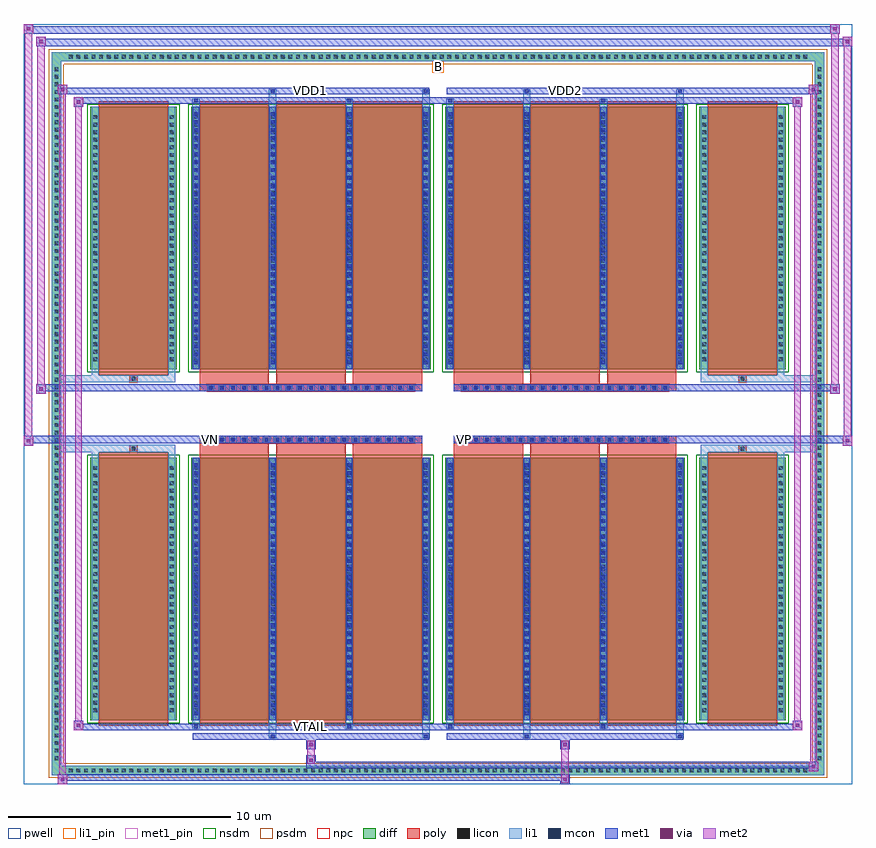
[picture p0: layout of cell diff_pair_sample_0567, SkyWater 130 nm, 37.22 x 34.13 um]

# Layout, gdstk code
import gdstk
lib = gdstk.Library(unit=1e-6, precision=5e-09)
def R(c, l, rs):  # rectangles x0, y0, x1, y1
    for r in rs: c.add(gdstk.rectangle(r[:2], r[2:], *l))
def A(c, l, x, y, w, h, nx, ny, dx, dy):  # array of equal rectangles
    R(c, l, [(x+i*dx, y+j*dy, x+i*dx+w, y+j*dy+h) for i in range(nx) for j in range(ny)])
def P(c, l, *ps):  # polygons
    for p in ps: c.add(gdstk.Polygon(p, *l))
pwell = (64, 44)
diff = (65, 20)
poly = (66, 20)
licon = (66, 44)
li1_pin = (67, 16)
li1 = (67, 20)
mcon = (67, 44)
met1_pin = (68, 16)
met1 = (68, 20)
via = (68, 44)
met2 = (69, 20)
nsdm = (93, 44)
psdm = (94, 20)
npc = (95, 20)

diff_pair_sample_0567 = lib.new_cell('diff_pair_sample_0567')
R(diff_pair_sample_0567, pwell, [(-18.61,-16.63,18.61,17.5), (-15.93,-14.82,-0.01,-0.8), (0.01,-14.82,15.93,-0.8), (-15.93,0.8,-0.01,14.82), (0.01,0.8,15.93,14.82)])
A(diff_pair_sample_0567, diff, -16.695, -16.23, 0.41, 0.41, 98, 2, 0.34, 32.05)
A(diff_pair_sample_0567, diff, -17.34, -15.675, 0.41, 0.41, 1, 92, 0, 0.34)
A(diff_pair_sample_0567, diff, 16.93, -15.675, 0.41, 0.41, 1, 92, 0, 0.34)
R(diff_pair_sample_0567, diff, [(-16.695,-16.23,16.695,-15.82), (-17.34,-15.675,-16.93,15.675), (16.93,-15.675,17.34,15.675), (-15.62,-13.775,-11.73,-1.985), (-11.09,-13.775,-0.32,-1.985), (0.32,-13.775,11.09,-1.985), (11.73,-13.775,15.62,-1.985), (-15.62,1.985,-11.73,13.775), (-11.09,1.985,-0.32,13.775), (0.32,1.985,11.09,13.775), (11.73,1.985,15.62,13.775), (-16.695,15.82,16.695,16.23)])
P(diff_pair_sample_0567, diff, [(17.34,16.23),(-17.34,16.23),(-17.34,-15.82),(-16.93,-15.82),(-16.93,15.82),(16.93,15.82),(16.93,-15.82),(-16.93,-15.82),(-17.34,-15.82),(-17.34,-16.23),(17.34,-16.23)])
A(diff_pair_sample_0567, poly, -10.7, -14.025, 3.11, 12.29, 3, 2, 3.44, 15.76)
A(diff_pair_sample_0567, poly, 0.71, -14.025, 3.11, 12.29, 3, 2, 3.44, 15.76)
A(diff_pair_sample_0567, poly, -10.7, -1.735, 3.11, 0.405, 3, 2, 3.44, 3.065)
A(diff_pair_sample_0567, poly, 0.71, -1.735, 3.11, 0.405, 3, 2, 3.44, 3.065)
A(diff_pair_sample_0567, poly, -10.37, -1.33, 0.33, 0.33, 19, 2, 0.5, 2.33)
A(diff_pair_sample_0567, poly, 1.04, -1.33, 0.33, 0.33, 19, 2, 0.5, 2.33)
R(diff_pair_sample_0567, poly, [(-15.23,-14.025,-12.12,-1.735), (12.12,-14.025,15.23,-1.735), (-13.84,-1.735,-13.51,-1.405), (-13.84,-1.735,-13.51,-1.405), (13.51,-1.735,13.84,-1.405), (13.51,-1.735,13.84,-1.405), (-10.7,-1.33,-0.71,-1), (0.71,-1.33,10.7,-1), (-10.7,1,-0.71,1.33), (0.71,1,10.7,1.33), (-13.84,1.405,-13.51,1.735), (-13.84,1.405,-13.51,1.735), (13.51,1.405,13.84,1.735), (13.51,1.405,13.84,1.735), (-15.23,1.735,-12.12,14.025), (12.12,1.735,15.23,14.025)])
A(diff_pair_sample_0567, licon, -16.575, -16.11, 0.17, 0.17, 98, 2, 0.34, 32.05)
A(diff_pair_sample_0567, licon, -17.22, -15.555, 0.17, 0.17, 1, 92, 0, 0.34)
A(diff_pair_sample_0567, licon, 17.05, -15.555, 0.17, 0.17, 1, 92, 0, 0.34)
A(diff_pair_sample_0567, licon, -15.48, -13.405, 0.17, 0.17, 1, 33, 0, 0.34)
A(diff_pair_sample_0567, licon, -12.04, -13.405, 0.17, 0.17, 1, 33, 0, 0.34)
A(diff_pair_sample_0567, licon, -10.95, -13.405, 0.17, 0.17, 4, 33, 3.44, 0.34)
A(diff_pair_sample_0567, licon, 0.46, -13.405, 0.17, 0.17, 4, 33, 3.44, 0.34)
A(diff_pair_sample_0567, licon, 11.87, -13.405, 0.17, 0.17, 1, 33, 0, 0.34)
A(diff_pair_sample_0567, licon, 15.31, -13.405, 0.17, 0.17, 1, 33, 0, 0.34)
A(diff_pair_sample_0567, licon, -10.29, -1.25, 0.17, 0.17, 19, 2, 0.5, 2.33)
A(diff_pair_sample_0567, licon, 1.12, -1.25, 0.17, 0.17, 19, 2, 0.5, 2.33)
A(diff_pair_sample_0567, licon, -15.48, 2.355, 0.17, 0.17, 1, 33, 0, 0.34)
A(diff_pair_sample_0567, licon, -12.04, 2.355, 0.17, 0.17, 1, 33, 0, 0.34)
A(diff_pair_sample_0567, licon, -10.95, 2.355, 0.17, 0.17, 4, 33, 3.44, 0.34)
A(diff_pair_sample_0567, licon, 0.46, 2.355, 0.17, 0.17, 4, 33, 3.44, 0.34)
A(diff_pair_sample_0567, licon, 11.87, 2.355, 0.17, 0.17, 1, 33, 0, 0.34)
A(diff_pair_sample_0567, licon, 15.31, 2.355, 0.17, 0.17, 1, 33, 0, 0.34)
R(diff_pair_sample_0567, licon, [(-13.76,-1.655,-13.59,-1.485), (13.59,-1.655,13.76,-1.485), (-13.76,1.485,-13.59,1.655), (13.59,1.485,13.76,1.655)])
R(diff_pair_sample_0567, li1_pin, [(-0.25,15.32,0.25,15.82)])
A(diff_pair_sample_0567, li1, -16.655, -16.19, 0.33, 0.33, 98, 2, 0.34, 32.05)
A(diff_pair_sample_0567, li1, -17.3, -15.635, 0.33, 0.33, 1, 92, 0, 0.34)
A(diff_pair_sample_0567, li1, 16.97, -15.635, 0.33, 0.33, 1, 92, 0, 0.34)
A(diff_pair_sample_0567, li1, -11.03, -13.775, 0.33, 11.79, 4, 2, 3.44, 15.76)
A(diff_pair_sample_0567, li1, 0.38, -13.775, 0.33, 11.79, 4, 2, 3.44, 15.76)
A(diff_pair_sample_0567, li1, -10.95, -13.545, 0.17, 0.17, 4, 32, 3.44, 0.36)
A(diff_pair_sample_0567, li1, -10.95, -13.545, 0.17, 11.33, 4, 2, 3.44, 15.76)
A(diff_pair_sample_0567, li1, 0.46, -13.545, 0.17, 0.17, 4, 32, 3.44, 0.36)
A(diff_pair_sample_0567, li1, 0.46, -13.545, 0.17, 11.33, 4, 2, 3.44, 15.76)
A(diff_pair_sample_0567, li1, -15.56, -13.485, 0.33, 0.33, 1, 33, 0, 0.34)
A(diff_pair_sample_0567, li1, -12.12, -13.485, 0.33, 0.33, 1, 33, 0, 0.34)
A(diff_pair_sample_0567, li1, -11.03, -13.485, 0.33, 0.33, 4, 33, 3.44, 0.34)
A(diff_pair_sample_0567, li1, 0.38, -13.485, 0.33, 0.33, 4, 33, 3.44, 0.34)
A(diff_pair_sample_0567, li1, 11.79, -13.485, 0.33, 0.33, 1, 33, 0, 0.34)
A(diff_pair_sample_0567, li1, 15.23, -13.485, 0.33, 0.33, 1, 33, 0, 0.34)
A(diff_pair_sample_0567, li1, -10.37, -1.33, 0.33, 0.33, 19, 2, 0.5, 2.33)
A(diff_pair_sample_0567, li1, 1.04, -1.33, 0.33, 0.33, 19, 2, 0.5, 2.33)
A(diff_pair_sample_0567, li1, -10.95, 2.215, 0.17, 0.17, 4, 32, 3.44, 0.36)
A(diff_pair_sample_0567, li1, 0.46, 2.215, 0.17, 0.17, 4, 32, 3.44, 0.36)
A(diff_pair_sample_0567, li1, -15.56, 2.275, 0.33, 0.33, 1, 33, 0, 0.34)
A(diff_pair_sample_0567, li1, -12.12, 2.275, 0.33, 0.33, 1, 33, 0, 0.34)
A(diff_pair_sample_0567, li1, -11.03, 2.275, 0.33, 0.33, 4, 33, 3.44, 0.34)
A(diff_pair_sample_0567, li1, 0.38, 2.275, 0.33, 0.33, 4, 33, 3.44, 0.34)
A(diff_pair_sample_0567, li1, 11.79, 2.275, 0.33, 0.33, 1, 33, 0, 0.34)
A(diff_pair_sample_0567, li1, 15.23, 2.275, 0.33, 0.33, 1, 33, 0, 0.34)
R(diff_pair_sample_0567, li1, [(-17.34,-16.23,-16.93,-15.82), (-17.34,-16.23,-16.93,-15.82), (-16.93,-16.23,16.93,-15.82), (16.93,-16.23,17.34,-15.82), (16.93,-16.23,17.34,-15.82), (-17.34,-15.82,-16.93,15.82), (16.93,-15.82,17.34,15.82), (-7.59,-14.58,-7.26,-13.775), (-7.51,-14.58,-7.34,-14.41), (-0.71,-14.58,-0.38,-13.775), (-0.63,-14.58,-0.46,-14.41), (3.82,-14.58,4.15,-13.775), (3.9,-14.58,4.07,-14.41), (10.7,-14.58,11.03,-13.775), (10.78,-14.58,10.95,-14.41), (-11.03,-14.15,-10.7,-13.775), (-10.95,-14.15,-10.78,-13.98), (-4.15,-14.15,-3.82,-13.775), (-4.07,-14.15,-3.9,-13.98), (0.38,-14.15,0.71,-13.775), (0.46,-14.15,0.63,-13.98), (7.26,-14.15,7.59,-13.775), (7.34,-14.15,7.51,-13.98), (-15.56,-13.775,-15.23,-1.985), (-12.12,-13.775,-11.79,-1.985), (11.79,-13.775,12.12,-1.985), (15.23,-13.775,15.56,-1.985), (-15.56,-1.985,-15.23,-1.405), (-12.12,-1.985,-11.79,-1.405), (11.79,-1.985,12.12,-1.405), (15.23,-1.985,15.56,-1.405), (-17.34,-1.735,-13.84,-1.405), (-15.56,-1.735,-13.84,-1.405), (-13.84,-1.735,-13.51,-1.405), (-13.51,-1.735,-11.79,-1.405), (11.79,-1.735,13.51,-1.405), (13.51,-1.735,13.84,-1.405), (13.51,-1.735,17.34,-1.405), (13.84,-1.735,15.56,-1.405), (-17.34,1.405,-13.84,1.735), (-15.56,1.405,-13.84,1.735), (-15.56,1.405,-15.23,1.985), (-13.84,1.405,-13.51,1.735), (-13.51,1.405,-11.79,1.735), (-12.12,1.405,-11.79,1.985), (11.79,1.405,13.51,1.735), (11.79,1.405,12.12,1.985), (13.51,1.405,13.84,1.735), (13.51,1.405,17.34,1.735), (13.84,1.405,15.56,1.735), (15.23,1.405,15.56,1.985), (-15.56,1.985,-15.23,13.775), (-12.12,1.985,-11.79,13.775), (11.79,1.985,12.12,13.775), (15.23,1.985,15.56,13.775), (-11.03,13.775,-10.7,14.15), (-7.59,13.775,-7.26,14.58), (-4.15,13.775,-3.82,14.15), (-0.71,13.775,-0.38,14.58), (0.38,13.775,0.71,14.15), (3.82,13.775,4.15,14.58), (7.26,13.775,7.59,14.15), (10.7,13.775,11.03,14.58), (-10.95,13.98,-10.78,14.15), (-4.07,13.98,-3.9,14.15), (0.46,13.98,0.63,14.15), (7.34,13.98,7.51,14.15), (-7.51,14.41,-7.34,14.58), (-0.63,14.41,-0.46,14.58), (3.9,14.41,4.07,14.58), (10.78,14.41,10.95,14.58), (-17.34,15.82,-16.93,16.23), (-17.34,15.82,-16.93,16.23), (-16.93,15.82,16.93,16.23), (16.93,15.82,17.34,16.23), (16.93,15.82,17.34,16.23)])
A(diff_pair_sample_0567, mcon, -10.95, -13.545, 0.17, 0.17, 4, 32, 3.44, 0.36)
A(diff_pair_sample_0567, mcon, 0.46, -13.545, 0.17, 0.17, 4, 32, 3.44, 0.36)
A(diff_pair_sample_0567, mcon, -10.29, -1.25, 0.17, 0.17, 19, 2, 0.5, 2.33)
A(diff_pair_sample_0567, mcon, 1.12, -1.25, 0.17, 0.17, 19, 2, 0.5, 2.33)
A(diff_pair_sample_0567, mcon, -10.95, 2.215, 0.17, 0.17, 4, 32, 3.44, 0.36)
A(diff_pair_sample_0567, mcon, 0.46, 2.215, 0.17, 0.17, 4, 32, 3.44, 0.36)
R(diff_pair_sample_0567, mcon, [(-7.51,-14.58,-7.34,-14.41), (-0.63,-14.58,-0.46,-14.41), (3.9,-14.58,4.07,-14.41), (10.78,-14.58,10.95,-14.41), (-10.95,-14.15,-10.78,-13.98), (-4.07,-14.15,-3.9,-13.98), (0.46,-14.15,0.63,-13.98), (7.34,-14.15,7.51,-13.98), (-10.95,13.98,-10.78,14.15), (-4.07,13.98,-3.9,14.15), (0.46,13.98,0.63,14.15), (7.34,13.98,7.51,14.15), (-7.51,14.41,-7.34,14.58), (-0.63,14.41,-0.46,14.58), (3.9,14.41,4.07,14.58), (10.78,14.41,10.95,14.58)])
R(diff_pair_sample_0567, met1_pin, [(-5.84,-14.19,-5.57,-13.92), (-10.34,-1.29,-10.07,-1.02), (1.07,-1.29,1.34,-1.02), (-5.84,14.37,-5.57,14.64), (5.57,14.37,5.84,14.64)])
A(diff_pair_sample_0567, met1, -11.01, -13.775, 0.29, 11.79, 4, 2, 3.44, 15.76)
A(diff_pair_sample_0567, met1, 0.4, -13.775, 0.29, 11.79, 4, 2, 3.44, 15.76)
A(diff_pair_sample_0567, met1, -11.01, -13.605, 0.29, 0.29, 4, 32, 3.44, 0.36)
A(diff_pair_sample_0567, met1, 0.4, -13.605, 0.29, 0.29, 4, 32, 3.44, 0.36)
A(diff_pair_sample_0567, met1, -10.35, -1.31, 0.29, 0.29, 19, 2, 0.5, 2.33)
A(diff_pair_sample_0567, met1, 1.06, -1.31, 0.29, 0.29, 19, 2, 0.5, 2.33)
A(diff_pair_sample_0567, met1, -11.01, 2.155, 0.29, 0.29, 4, 32, 3.44, 0.36)
A(diff_pair_sample_0567, met1, 0.4, 2.155, 0.29, 0.29, 4, 32, 3.44, 0.36)
R(diff_pair_sample_0567, met1, [(-17.07,-16.63,-16.64,-16.2), (5.49,-16.63,5.92,-16.2), (-17.07,-16.49,5.92,-16.2), (16.64,-16.06,17.07,-15.63), (-5.92,-15.92,17.07,-15.63), (-5.92,-15.78,-5.49,-15.35), (-5.92,-15.07,-5.49,-14.64), (5.49,-15.07,5.92,-14.64), (-11.01,-14.64,-0.4,-14.35), (-7.57,-14.64,-7.28,-14.35), (-0.69,-14.64,-0.4,-14.35), (0.4,-14.64,11.01,-14.35), (3.84,-14.64,4.13,-14.35), (10.72,-14.64,11.01,-14.35), (-16.36,-14.21,-15.93,-13.78), (-16.36,-14.21,-11.01,-13.92), (-11.01,-14.21,-10.72,-13.92), (-11.01,-14.21,-0.4,-13.92), (-4.13,-14.21,-3.84,-13.92), (-0.4,-14.21,0.4,-13.92), (0.4,-14.21,0.69,-13.92), (0.4,-14.21,11.01,-13.92), (7.28,-14.21,7.57,-13.92), (11.01,-14.21,16.36,-13.92), (15.93,-14.21,16.36,-13.78), (-18.61,-1.43,-18.18,-1), (18.18,-1.43,18.61,-1), (-18.61,-1.33,-0.71,-1), (-10.7,-1.33,-0.71,-1), (0.71,-1.33,10.7,-1), (0.71,-1.33,18.61,-1), (-18.04,0.9,-17.61,1.33), (17.61,0.9,18.04,1.33), (-18.04,1,-10.7,1.33), (-10.7,1,-0.71,1.33), (0.71,1,10.7,1.33), (10.7,1,18.04,1.33), (-16.36,13.78,-15.93,14.21), (15.93,13.78,16.36,14.21), (-16.36,13.92,-11.01,14.21), (-11.01,13.92,-10.72,14.21), (-11.01,13.92,-0.4,14.21), (-4.13,13.92,-3.84,14.21), (-0.4,13.92,0.4,14.21), (0.4,13.92,0.69,14.21), (0.4,13.92,11.01,14.21), (7.28,13.92,7.57,14.21), (11.01,13.92,16.36,14.21), (-17.07,14.35,-16.64,14.78), (-17.07,14.35,-11.01,14.64), (-11.01,14.35,-0.4,14.64), (-7.57,14.35,-7.28,14.64), (-0.69,14.35,-0.4,14.64), (0.4,14.35,11.01,14.64), (3.84,14.35,4.13,14.64), (10.72,14.35,11.01,14.64), (11.01,14.35,17.07,14.64), (16.64,14.35,17.07,14.78), (-18.04,16.5,-17.61,16.93), (-18.04,16.5,-15.93,16.83), (-15.93,16.5,15.93,16.83), (15.93,16.5,18.61,16.83), (18.18,16.5,18.61,16.93), (-18.61,17.07,-18.18,17.5), (-18.61,17.07,-15.93,17.4), (-15.93,17.07,15.93,17.4), (15.93,17.07,18.04,17.4), (17.61,17.07,18.04,17.5)])
R(diff_pair_sample_0567, via, [(-16.93,-16.49,-16.78,-16.34), (5.63,-16.49,5.78,-16.34), (16.78,-15.92,16.93,-15.77), (-5.78,-15.64,-5.63,-15.49), (-5.78,-14.93,-5.63,-14.78), (5.63,-14.93,5.78,-14.78), (-16.22,-14.07,-16.07,-13.92), (16.07,-14.07,16.22,-13.92), (-18.47,-1.29,-18.32,-1.14), (18.32,-1.29,18.47,-1.14), (-17.9,1.04,-17.75,1.19), (17.75,1.04,17.9,1.19), (-16.22,13.92,-16.07,14.07), (16.07,13.92,16.22,14.07), (-16.93,14.49,-16.78,14.64), (16.78,14.49,16.93,14.64), (-17.9,16.64,-17.75,16.79), (18.32,16.64,18.47,16.79), (-18.47,17.21,-18.32,17.36), (17.75,17.21,17.9,17.36)])
R(diff_pair_sample_0567, met2, [(-17.07,-16.63,-16.64,-16.2), (-17,-16.63,-16.71,14.78), (-16.71,-16.63,-16.64,-16.2), (-17.02,-16.58,-16.69,-16.25), (5.54,-16.58,5.87,-16.25), (5.54,-16.25,5.87,-15.02), (16.64,-16.06,17.07,-15.63), (16.71,-16.06,17,14.78), (17,-16.06,17.07,-15.63), (16.69,-16.01,17.02,-15.68), (-5.87,-15.73,-5.54,-15.4), (-5.87,-15.4,-5.54,-15.02), (-5.87,-15.02,-5.54,-14.69), (5.54,-15.02,5.87,-14.69), (-16.36,-14.21,-15.93,-13.78), (-16.29,-14.21,-16,14.21), (-16,-14.21,-15.93,-13.78), (15.93,-14.21,16.36,-13.78), (16,-14.21,16.29,14.21), (16.29,-14.21,16.36,-13.78), (-16.31,-14.16,-15.98,-13.83), (15.98,-14.16,16.31,-13.83), (-18.61,-1.43,-18.18,-1), (-18.56,-1.43,-18.23,17.5), (-18.23,-1.43,-18.18,-1), (18.18,-1.43,18.61,-1), (18.23,-1.43,18.56,16.93), (18.56,-1.43,18.61,-1), (-18.56,-1.38,-18.23,-1.05), (18.23,-1.38,18.56,-1.05), (-18.04,0.9,-17.61,1.33), (-17.99,0.9,-17.66,16.93), (-17.66,0.9,-17.61,1.33), (17.61,0.9,18.04,1.33), (17.66,0.9,17.99,17.5), (17.99,0.9,18.04,1.33), (-17.99,0.95,-17.66,1.28), (17.66,0.95,17.99,1.28), (-16.36,13.78,-15.93,14.21), (-16,13.78,-15.93,14.21), (15.93,13.78,16.36,14.21), (16.29,13.78,16.36,14.21), (-16.31,13.83,-15.98,14.16), (15.98,13.83,16.31,14.16), (-17.07,14.35,-16.64,14.78), (-16.71,14.35,-16.64,14.78), (16.64,14.35,17.07,14.78), (17,14.35,17.07,14.78), (-17.02,14.4,-16.69,14.73), (16.69,14.4,17.02,14.73), (-18.04,16.5,-17.61,16.93), (-17.66,16.5,-17.61,16.93), (18.18,16.5,18.61,16.93), (18.56,16.5,18.61,16.93), (-17.99,16.55,-17.66,16.88), (18.23,16.55,18.56,16.88), (-18.61,17.07,-18.18,17.5), (-18.23,17.07,-18.18,17.5), (17.61,17.07,18.04,17.5), (17.99,17.07,18.04,17.5), (-18.56,17.12,-18.23,17.45), (17.66,17.12,17.99,17.45)])
R(diff_pair_sample_0567, nsdm, [(-15.75,-13.905,-11.6,-1.855), (-11.22,-13.905,-0.19,-1.855), (0.19,-13.905,11.22,-1.855), (11.6,-13.905,15.75,-1.855), (-15.75,1.855,-11.6,13.905), (-11.22,1.855,-0.19,13.905), (0.19,1.855,11.22,13.905), (11.6,1.855,15.75,13.905)])
P(diff_pair_sample_0567, psdm, [(17.47,16.36),(-17.47,16.36),(-17.47,-15.69),(-16.8,-15.69),(-16.8,15.69),(16.8,15.69),(16.8,-15.69),(-16.8,-15.69),(-17.47,-15.69),(-17.47,-16.36),(17.47,-16.36)])
A(diff_pair_sample_0567, npc, -10.39, -1.35, 0.37, 0.37, 19, 2, 0.5, 2.33)
A(diff_pair_sample_0567, npc, 1.02, -1.35, 0.37, 0.37, 19, 2, 0.5, 2.33)
R(diff_pair_sample_0567, npc, [(-13.86,-1.755,-13.49,-1.385), (13.49,-1.755,13.86,-1.385), (-10.39,-1.35,-9.52,-0.98), (-10.39,-1.35,-9.52,-0.98), (-9.89,-1.35,-9.02,-0.98), (-9.89,-1.35,-9.02,-0.98), (-9.39,-1.35,-8.52,-0.98), (-9.39,-1.35,-8.52,-0.98), (-8.89,-1.35,-8.02,-0.98), (-8.89,-1.35,-8.02,-0.98), (-8.39,-1.35,-7.52,-0.98), (-8.39,-1.35,-7.52,-0.98), (-7.89,-1.35,-7.02,-0.98), (-7.89,-1.35,-7.02,-0.98), (-7.39,-1.35,-6.52,-0.98), (-7.39,-1.35,-6.52,-0.98), (-6.89,-1.35,-6.02,-0.98), (-6.89,-1.35,-6.02,-0.98), (-6.39,-1.35,-5.52,-0.98), (-6.39,-1.35,-5.52,-0.98), (-5.89,-1.35,-5.02,-0.98), (-5.89,-1.35,-5.02,-0.98), (-5.39,-1.35,-4.52,-0.98), (-5.39,-1.35,-4.52,-0.98), (-4.89,-1.35,-4.02,-0.98), (-4.89,-1.35,-4.02,-0.98), (-4.39,-1.35,-3.52,-0.98), (-4.39,-1.35,-3.52,-0.98), (-3.89,-1.35,-3.02,-0.98), (-3.89,-1.35,-3.02,-0.98), (-3.39,-1.35,-2.52,-0.98), (-3.39,-1.35,-2.52,-0.98), (-2.89,-1.35,-2.02,-0.98), (-2.89,-1.35,-2.02,-0.98), (-2.39,-1.35,-1.52,-0.98), (-2.39,-1.35,-1.52,-0.98), (-1.89,-1.35,-1.02,-0.98), (-1.89,-1.35,-1.02,-0.98), (1.02,-1.35,1.89,-0.98), (1.02,-1.35,1.89,-0.98), (1.52,-1.35,2.39,-0.98), (1.52,-1.35,2.39,-0.98), (2.02,-1.35,2.89,-0.98), (2.02,-1.35,2.89,-0.98), (2.52,-1.35,3.39,-0.98), (2.52,-1.35,3.39,-0.98), (3.02,-1.35,3.89,-0.98), (3.02,-1.35,3.89,-0.98), (3.52,-1.35,4.39,-0.98), (3.52,-1.35,4.39,-0.98), (4.02,-1.35,4.89,-0.98), (4.02,-1.35,4.89,-0.98), (4.52,-1.35,5.39,-0.98), (4.52,-1.35,5.39,-0.98), (5.02,-1.35,5.89,-0.98), (5.02,-1.35,5.89,-0.98), (5.52,-1.35,6.39,-0.98), (5.52,-1.35,6.39,-0.98), (6.02,-1.35,6.89,-0.98), (6.02,-1.35,6.89,-0.98), (6.52,-1.35,7.39,-0.98), (6.52,-1.35,7.39,-0.98), (7.02,-1.35,7.89,-0.98), (7.02,-1.35,7.89,-0.98), (7.52,-1.35,8.39,-0.98), (7.52,-1.35,8.39,-0.98), (8.02,-1.35,8.89,-0.98), (8.02,-1.35,8.89,-0.98), (8.52,-1.35,9.39,-0.98), (8.52,-1.35,9.39,-0.98), (9.02,-1.35,9.89,-0.98), (9.02,-1.35,9.89,-0.98), (9.52,-1.35,10.39,-0.98), (9.52,-1.35,10.39,-0.98), (-10.39,0.98,-9.52,1.35), (-10.39,0.98,-9.52,1.35), (-9.89,0.98,-9.02,1.35), (-9.89,0.98,-9.02,1.35), (-9.39,0.98,-8.52,1.35), (-9.39,0.98,-8.52,1.35), (-8.89,0.98,-8.02,1.35), (-8.89,0.98,-8.02,1.35), (-8.39,0.98,-7.52,1.35), (-8.39,0.98,-7.52,1.35), (-7.89,0.98,-7.02,1.35), (-7.89,0.98,-7.02,1.35), (-7.39,0.98,-6.52,1.35), (-7.39,0.98,-6.52,1.35), (-6.89,0.98,-6.02,1.35), (-6.89,0.98,-6.02,1.35), (-6.39,0.98,-5.52,1.35), (-6.39,0.98,-5.52,1.35), (-5.89,0.98,-5.02,1.35), (-5.89,0.98,-5.02,1.35), (-5.39,0.98,-4.52,1.35), (-5.39,0.98,-4.52,1.35), (-4.89,0.98,-4.02,1.35), (-4.89,0.98,-4.02,1.35), (-4.39,0.98,-3.52,1.35), (-4.39,0.98,-3.52,1.35), (-3.89,0.98,-3.02,1.35), (-3.89,0.98,-3.02,1.35), (-3.39,0.98,-2.52,1.35), (-3.39,0.98,-2.52,1.35), (-2.89,0.98,-2.02,1.35), (-2.89,0.98,-2.02,1.35), (-2.39,0.98,-1.52,1.35), (-2.39,0.98,-1.52,1.35), (-1.89,0.98,-1.02,1.35), (-1.89,0.98,-1.02,1.35), (1.02,0.98,1.89,1.35), (1.02,0.98,1.89,1.35), (1.52,0.98,2.39,1.35), (1.52,0.98,2.39,1.35), (2.02,0.98,2.89,1.35), (2.02,0.98,2.89,1.35), (2.52,0.98,3.39,1.35), (2.52,0.98,3.39,1.35), (3.02,0.98,3.89,1.35), (3.02,0.98,3.89,1.35), (3.52,0.98,4.39,1.35), (3.52,0.98,4.39,1.35), (4.02,0.98,4.89,1.35), (4.02,0.98,4.89,1.35), (4.52,0.98,5.39,1.35), (4.52,0.98,5.39,1.35), (5.02,0.98,5.89,1.35), (5.02,0.98,5.89,1.35), (5.52,0.98,6.39,1.35), (5.52,0.98,6.39,1.35), (6.02,0.98,6.89,1.35), (6.02,0.98,6.89,1.35), (6.52,0.98,7.39,1.35), (6.52,0.98,7.39,1.35), (7.02,0.98,7.89,1.35), (7.02,0.98,7.89,1.35), (7.52,0.98,8.39,1.35), (7.52,0.98,8.39,1.35), (8.02,0.98,8.89,1.35), (8.02,0.98,8.89,1.35), (8.52,0.98,9.39,1.35), (8.52,0.98,9.39,1.35), (9.02,0.98,9.89,1.35), (9.02,0.98,9.89,1.35), (9.52,0.98,10.39,1.35), (9.52,0.98,10.39,1.35), (-13.86,1.385,-13.49,1.755), (13.49,1.385,13.86,1.755)])
diff_pair_sample_0567.add(gdstk.Label('VTAIL', (-5.705,-14.055), layer=68, texttype=5))
diff_pair_sample_0567.add(gdstk.Label('VN', (-10.205,-1.155), layer=68, texttype=5))
diff_pair_sample_0567.add(gdstk.Label('VP', (1.205,-1.155), layer=68, texttype=5))
diff_pair_sample_0567.add(gdstk.Label('B', (0,15.57), layer=67, texttype=5))
diff_pair_sample_0567.add(gdstk.Label('VDD2', (5.705,14.505), layer=68, texttype=5))
diff_pair_sample_0567.add(gdstk.Label('VDD1', (-5.705,14.505), layer=68, texttype=5))

lib.write_gds('diff_pair_sample_0567.gds')
